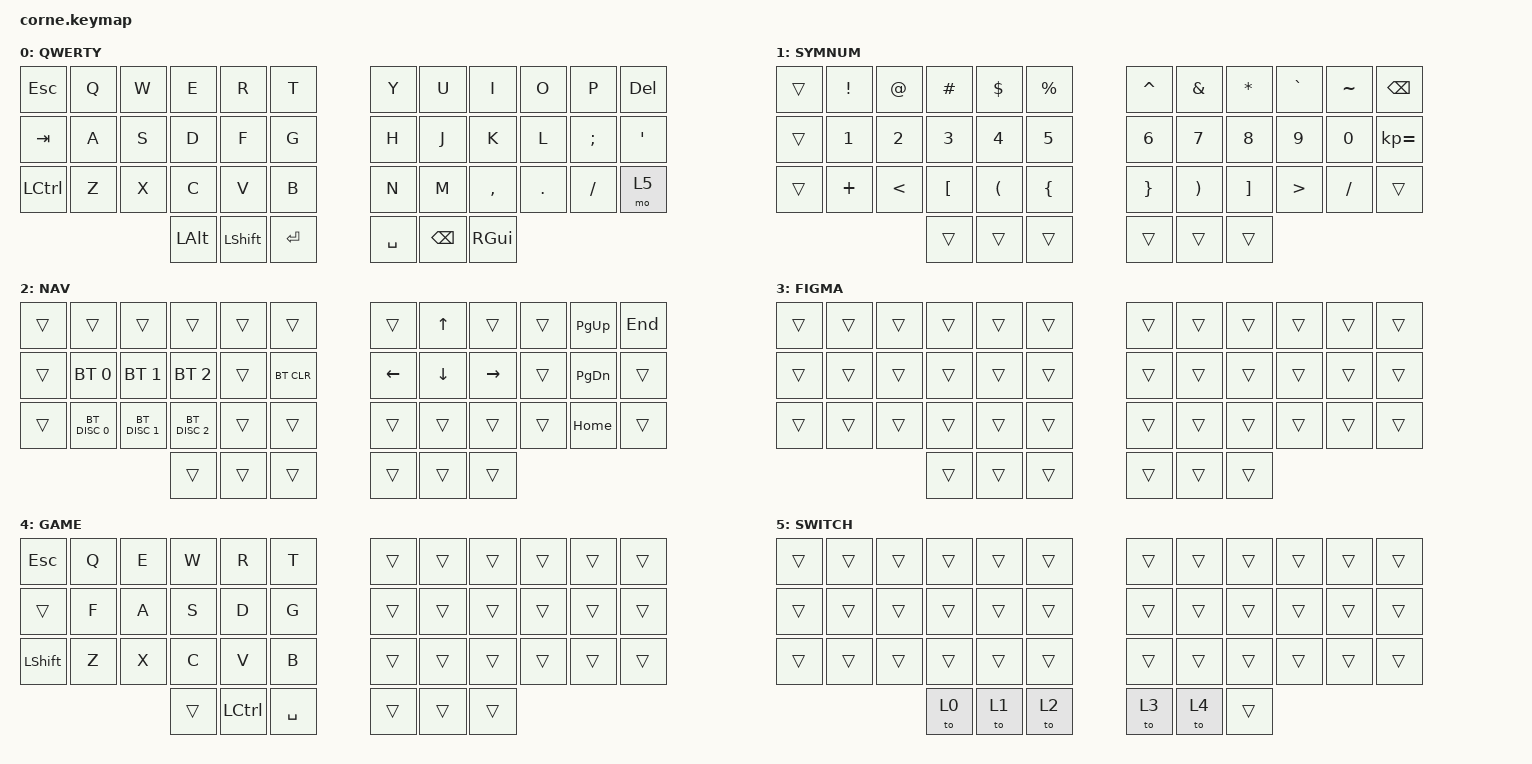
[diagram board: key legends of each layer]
/*
 * Copyright (c) 2020 The ZMK Contributors
 *
 * SPDX-License-Identifier: MIT
 */

#include <behaviors.dtsi>
#include <dt-bindings/zmk/bt.h>
#include <dt-bindings/zmk/keys.h>

/ {
    keymap {
        compatible = "zmk,keymap";

        BASE_LAYER {
            // -----------------------------------------------------------------------------------------
            // |  TAB |  Q  |  W  |  E  |  R  |  T  |   |  Y  |  U   |  I  |  O  |  P  | BKSP |
            // | CTRL |  A  |  S  |  D  |  F  |  G  |   |  H  |  J   |  K  |  L  |  ;  |  '   |
            // | SHFT |  Z  |  X  |  C  |  V  |  B  |   |  N  |  M   |  ,  |  .  |  /  | ESC  |
            //                    | GUI | LWR | SPC |   | ENT | RSE  | ALT |

            display-name = "QWERTY";
            bindings = <
&kp ESCAPE        &kp Q  &kp W  &kp E         &kp R           &kp T        &kp Y      &kp U          &kp I          &kp O    &kp P     &kp DELETE
&kp TAB           &kp A  &kp S  &kp D         &kp F           &kp G        &kp H      &kp J          &kp K          &kp L    &kp SEMI  &kp SQT
&kp LEFT_CONTROL  &kp Z  &kp X  &kp C         &kp V           &kp B        &kp N      &kp M          &kp COMMA      &kp DOT  &kp FSLH  &mo 5
                                &kp LEFT_ALT  &kp LEFT_SHIFT  &kp ENTER    &kp SPACE  &kp BACKSPACE  &kp RIGHT_GUI
            >;
        };

        SYNUM_LAYER {
            display-name = "SYMNUM";
            bindings = <
&trans  &kp EXCL      &kp AT         &kp HASH          &kp DLLR              &kp PRCNT         &kp CARET        &kp AMPERSAND          &kp ASTRK          &kp GRAVE         &kp TILDE  &kp BSPC
&trans  &kp NUMBER_1  &kp NUMBER_2   &kp NUMBER_3      &kp NUMBER_4          &kp N5            &kp NUMBER_6     &kp N7                 &kp N8             &kp N9            &kp N0     &kp KP_EQUAL
&trans  &kp PLUS      &kp LESS_THAN  &kp LEFT_BRACKET  &kp LEFT_PARENTHESIS  &kp LEFT_BRACE    &kp RIGHT_BRACE  &kp RIGHT_PARENTHESIS  &kp RIGHT_BRACKET  &kp GREATER_THAN  &kp SLASH  &trans
                                     &trans            &trans                &trans            &trans           &trans                 &trans
            >;
        };

        NAV_LAYER {
            display-name = "NAV";
            bindings = <
&trans  &trans         &trans         &trans         &trans  &trans        &trans    &kp UP_ARROW  &trans     &trans  &kp PAGE_UP  &kp END
&trans  &bt BT_SEL 0   &bt BT_SEL 1   &bt BT_SEL 2   &trans  &bt BT_CLR    &kp LEFT  &kp DOWN      &kp RIGHT  &trans  &kp PG_DN    &trans
&trans  &bt BT_DISC 0  &bt BT_DISC 1  &bt BT_DISC 2  &trans  &trans        &trans    &trans        &trans     &trans  &kp HOME     &trans
                                      &trans         &trans  &trans        &trans    &trans        &trans
            >;
        };

        FIGMA_LAYER {
            bindings = <
&trans  &trans  &trans  &trans  &trans  &trans    &trans  &trans  &trans  &trans  &trans  &trans
&trans  &trans  &trans  &trans  &trans  &trans    &trans  &trans  &trans  &trans  &trans  &trans
&trans  &trans  &trans  &trans  &trans  &trans    &trans  &trans  &trans  &trans  &trans  &trans
                        &trans  &trans  &trans    &trans  &trans  &trans
            >;

            label = "FIGMA";
        };

        GAME_LAYER {
            bindings = <
&kp ESCAPE      &kp Q  &kp E  &kp W   &kp R      &kp T        &trans  &trans  &trans  &trans  &trans  &trans
&trans          &kp F  &kp A  &kp S   &kp D      &kp G        &trans  &trans  &trans  &trans  &trans  &trans
&kp LEFT_SHIFT  &kp Z  &kp X  &kp C   &kp V      &kp B        &trans  &trans  &trans  &trans  &trans  &trans
                              &trans  &kp LCTRL  &kp SPACE    &trans  &trans  &trans
            >;

            label = "GAME";
        };

        BLOCK_LAYER {
            bindings = <
&trans  &trans  &trans  &trans  &trans  &trans    &trans  &trans  &trans  &trans  &trans  &trans
&trans  &trans  &trans  &trans  &trans  &trans    &trans  &trans  &trans  &trans  &trans  &trans
&trans  &trans  &trans  &trans  &trans  &trans    &trans  &trans  &trans  &trans  &trans  &trans
                        &to 0   &to 1   &to 2     &to 3   &to 4   &trans
            >;

            label = "SWITCH";
        };
    };
};
